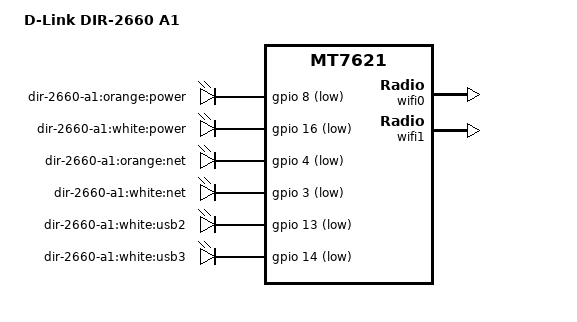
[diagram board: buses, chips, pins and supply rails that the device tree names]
// SPDX-License-Identifier: GPL-2.0-or-later OR MIT

#include "mt7621_dlink_dir-xx60-a1.dtsi"

/ {
	compatible = "dlink,dir-2660-a1", "mediatek,mt7621-soc";
	model = "D-Link DIR-2660 A1";

	aliases {
		led-boot = &led_power_orange;
		led-failsafe = &led_power_white;
		led-running = &led_power_white;
		led-upgrade = &led_net_orange;
	};

	leds {
		compatible = "gpio-leds";

		led_power_orange: power_orange {
			label = "dir-2660-a1:orange:power";
			gpios = <&gpio 8 GPIO_ACTIVE_LOW>;
		};

		led_power_white: power_white {
			label = "dir-2660-a1:white:power";
			gpios = <&gpio 16 GPIO_ACTIVE_LOW>;
		};

		led_net_orange: net_orange {
			label = "dir-2660-a1:orange:net";
			gpios = <&gpio 4 GPIO_ACTIVE_LOW>;
		};

		net_white {
			label = "dir-2660-a1:white:net";
			gpios = <&gpio 3 GPIO_ACTIVE_LOW>;
		};

		usb2_white {
			label = "dir-2660-a1:white:usb2";
			gpios = <&gpio 13 GPIO_ACTIVE_LOW>;
			trigger-sources = <&ehci_port2>;
			linux,default-trigger = "usbport";
		};

		usb3_white {
			label = "dir-2660-a1:white:usb3";
			gpios = <&gpio 14 GPIO_ACTIVE_LOW>;
			trigger-sources = <&xhci_ehci_port1>;
			linux,default-trigger = "usbport";
		};
	};
};

&wifi0 {
	mtd-mac-address = <&factory 0xe000>;
	mtd-mac-address-increment = <1>;
};

&wifi1 {
	mtd-mac-address = <&factory 0xe000>;
	mtd-mac-address-increment = <2>;
};
